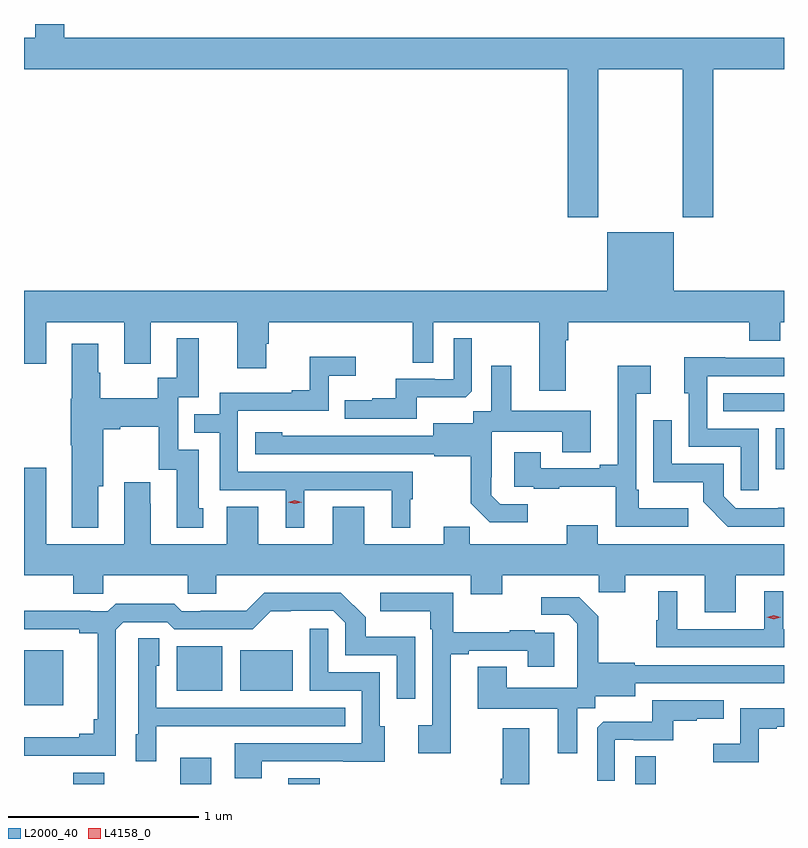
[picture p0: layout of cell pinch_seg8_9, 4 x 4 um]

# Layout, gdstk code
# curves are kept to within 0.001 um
import gdstk
lib = gdstk.Library(unit=1e-6, precision=1e-09)
def R(c, l, rs):  # rectangles x0, y0, x1, y1
    for r in rs: c.add(gdstk.rectangle(r[:2], r[2:], *l))
def P(c, l, *ps):  # polygons
    for p in ps: c.add(gdstk.Polygon(p, *l))
L2000_40 = (2000, 40)
L4158_0 = (4158, 0)

pinch_seg8_9 = lib.new_cell('pinch_seg8_9')
R(pinch_seg8_9, L2000_40, [(1117.373,1131.385,1117.537,1131.445), (1117.937,1131.385,1118.101,1131.523), (1118.507,1131.385,1118.671,1131.415), (1120.332,1131.385,1120.441,1131.53), (1117.115,1131.8,1117.321,1132.09), (1117.919,1131.875,1118.158,1132.111), (1118.252,1131.875,1118.53,1132.09), (1121.072,1133.042,1121.115,1133.257), (1120.795,1133.346,1121.115,1133.442)])
P(pinch_seg8_9, L2000_40, [(1120.137,1135.148),(1120.582,1135.148),(1120.582,1134.369),(1120.742,1134.369),(1120.742,1135.148),(1121.115,1135.148),(1121.115,1135.312),(1117.328,1135.312),(1117.328,1135.385),(1117.175,1135.385),(1117.175,1135.312),(1117.115,1135.312),(1117.115,1135.148),(1119.977,1135.148),(1119.977,1134.369),(1120.137,1134.369)],
  [(1117.115,1133.598),(1117.231,1133.598),(1117.231,1133.816),(1117.643,1133.816),(1117.643,1133.598),(1117.783,1133.598),(1117.783,1133.816),(1118.237,1133.816),(1118.237,1133.574),(1118.389,1133.574),(1118.389,1133.703),(1118.402,1133.703),(1118.402,1133.816),(1119.162,1133.816),(1119.162,1133.602),(1119.27,1133.602),(1119.27,1133.816),(1119.827,1133.816),(1119.827,1133.454),(1119.967,1133.454),(1119.967,1133.72),(1119.98,1133.72),(1119.98,1133.816),(1120.931,1133.816),(1120.931,1133.717),(1121.095,1133.717),(1121.095,1133.816),(1121.115,1133.816),(1121.115,1133.98),(1120.534,1133.98),(1120.534,1134.289),(1120.184,1134.289),(1120.184,1133.98),(1117.115,1133.98)],
  [(1119.181,1133.42),(1119.439,1133.42),(1119.471,1133.451),(1119.471,1133.731),(1119.378,1133.731),(1119.378,1133.514),(1119.278,1133.514),(1119.278,1133.517),(1119.071,1133.517),(1119.071,1133.416),(1118.947,1133.416),(1118.947,1133.404),(1118.803,1133.404),(1118.803,1133.307),(1119.181,1133.307)],
  [(1117.507,1132.953),(1117.533,1132.953),(1117.533,1133.252),(1117.621,1133.252),(1117.621,1133.264),(1117.823,1133.264),(1117.823,1133.04),(1117.919,1133.04),(1117.919,1132.734),(1118.059,1132.734),(1118.059,1132.836),(1118.035,1132.836),(1118.035,1133.145),(1117.926,1133.145),(1117.926,1133.421),(1118.035,1133.421),(1118.035,1133.731),(1117.919,1133.731),(1117.919,1133.522),(1117.818,1133.522),(1117.818,1133.416),(1117.515,1133.416),(1117.515,1133.55),(1117.507,1133.55),(1117.507,1133.701),(1117.367,1133.701),(1117.367,1133.412),(1117.36,1133.412),(1117.36,1133.168),(1117.367,1133.168),(1117.367,1132.733),(1117.507,1132.733)],
  [(1118.59,1132.932),(1119.05,1132.932),(1119.05,1132.733),(1119.148,1132.733),(1119.148,1132.884),(1119.16,1132.884),(1119.16,1133.028),(1118.241,1133.028),(1118.241,1133.349),(1118.718,1133.349),(1118.718,1133.534),(1118.86,1133.534),(1118.86,1133.633),(1118.62,1133.633),(1118.62,1133.458),(1118.525,1133.458),(1118.525,1133.445),(1118.145,1133.445),(1118.145,1133.331),(1118.011,1133.331),(1118.011,1133.235),(1118.145,1133.235),(1118.145,1132.932),(1118.492,1132.932),(1118.492,1132.733),(1118.59,1132.733)],
  [(1120.983,1133.256),(1120.71,1133.256),(1120.71,1133.532),(1121.115,1133.532),(1121.115,1133.628),(1120.807,1133.628),(1120.807,1133.63),(1120.589,1133.63),(1120.589,1133.442),(1120.614,1133.442),(1120.614,1133.16),(1120.887,1133.16),(1120.887,1132.932),(1120.983,1132.932)],
  [(1119.766,1132.857),(1119.621,1132.857),(1119.574,1132.904),(1119.574,1132.999),(1119.576,1132.999),(1119.576,1133.24),(1119.947,1133.24),(1119.947,1133.131),(1120.099,1133.131),(1120.099,1133.35),(1119.679,1133.35),(1119.679,1133.587),(1119.575,1133.587),(1119.575,1133.348),(1119.48,1133.348),(1119.48,1133.284),(1119.269,1133.284),(1119.269,1133.217),(1118.475,1133.218),(1118.475,1133.236),(1118.331,1133.236),(1118.331,1133.121),(1119.273,1133.121),(1119.273,1133.109),(1119.465,1133.109),(1119.465,1132.863),(1119.565,1132.763),(1119.766,1132.763)],
  [(1120.612,1132.837),(1120.351,1132.837),(1120.351,1132.933),(1120.338,1132.933),(1120.338,1133.438),(1120.414,1133.438),(1120.414,1133.587),(1120.241,1133.587),(1120.241,1133.065),(1120.145,1133.065),(1120.145,1133.046),(1119.835,1133.046),(1119.835,1133.131),(1119.695,1133.131),(1119.695,1132.95),(1119.799,1132.95),(1119.799,1132.938),(1119.931,1132.938),(1119.931,1132.949),(1120.23,1132.949),(1120.23,1132.74),(1120.612,1132.74)],
  [(1121.115,1132.838),(1121.084,1132.838),(1121.084,1132.836),(1120.86,1132.836),(1120.797,1132.899),(1120.797,1133.07),(1120.524,1133.07),(1120.524,1133.299),(1120.428,1133.299),(1120.428,1132.973),(1120.69,1132.973),(1120.69,1132.871),(1120.82,1132.74),(1121.115,1132.74)],
  [(1117.783,1132.859),(1117.78,1132.859),(1117.78,1132.972),(1117.643,1132.972),(1117.643,1132.648),(1117.231,1132.648),(1117.231,1133.05),(1117.115,1133.05),(1117.115,1132.484),(1117.373,1132.484),(1117.373,1132.386),(1117.533,1132.386),(1117.533,1132.484),(1117.978,1132.484),(1117.978,1132.386),(1118.128,1132.386),(1118.128,1132.484),(1119.467,1132.484),(1119.467,1132.385),(1119.631,1132.385),(1119.631,1132.484),(1120.141,1132.484),(1120.141,1132.394),(1120.279,1132.394),(1120.279,1132.484),(1120.697,1132.484),(1120.697,1132.29),(1120.861,1132.29),(1120.861,1132.484),(1121.115,1132.484),(1121.115,1132.648),(1120.135,1132.648),(1120.135,1132.747),(1119.971,1132.747),(1119.971,1132.648),(1119.461,1132.648),(1119.461,1132.739),(1119.323,1132.739),(1119.323,1132.648),(1118.905,1132.648),(1118.905,1132.843),(1118.741,1132.843),(1118.741,1132.648),(1118.347,1132.648),(1118.347,1132.843),(1118.183,1132.843),(1118.183,1132.648),(1117.783,1132.648)],
  [(1121.115,1132.2),(1121.11,1132.2),(1121.11,1132.399),(1121.012,1132.399),(1121.012,1132.2),(1120.552,1132.2),(1120.552,1132.399),(1120.454,1132.399),(1120.454,1132.248),(1120.443,1132.248),(1120.443,1132.104),(1121.115,1132.104)],
  [(1117.599,1132.197),(1117.638,1132.236),(1117.869,1132.236),(1117.905,1132.2),(1118.319,1132.2),(1118.414,1132.295),(1118.742,1132.296),(1118.805,1132.233),(1118.805,1132.062),(1119.078,1132.062),(1119.078,1131.834),(1119.174,1131.834),(1119.174,1132.159),(1118.913,1132.159),(1118.913,1132.262),(1118.782,1132.392),(1118.379,1132.392),(1118.285,1132.298),(1118.044,1132.298),(1118.044,1132.293),(1117.944,1132.293),(1117.905,1132.333),(1117.597,1132.333),(1117.557,1132.293),(1117.463,1132.293),(1117.463,1132.298),(1117.115,1132.298),(1117.115,1132.2),(1117.406,1132.2),(1117.406,1132.178),(1117.502,1132.178),(1117.502,1131.727),(1117.483,1131.727),(1117.483,1131.65),(1117.406,1131.65),(1117.406,1131.631),(1117.115,1131.631),(1117.115,1131.534),(1117.599,1131.534)],
  [(1119.361,1132.068),(1119.457,1132.068),(1119.457,1132.086),(1119.767,1132.086),(1119.767,1132.002),(1119.907,1132.002),(1119.907,1132.182),(1119.803,1132.182),(1119.803,1132.195),(1119.671,1132.195),(1119.671,1132.184),(1119.373,1132.184),(1119.373,1132.392),(1118.991,1132.392),(1118.991,1132.295),(1119.252,1132.295),(1119.252,1132.199),(1119.264,1132.199),(1119.264,1131.694),(1119.189,1131.694),(1119.189,1131.546),(1119.361,1131.546)],
  [(1120.027,1131.784),(1120.122,1131.784),(1120.122,1131.848),(1120.333,1131.848),(1120.333,1131.915),(1121.115,1131.914),(1121.115,1132.011),(1120.329,1132.011),(1120.329,1132.024),(1120.137,1132.024),(1120.137,1132.269),(1120.037,1132.369),(1119.837,1132.369),(1119.837,1132.275),(1119.981,1132.275),(1120.028,1132.228),(1120.028,1132.133),(1120.026,1132.133),(1120.026,1131.892),(1119.655,1131.892),(1119.655,1132.001),(1119.503,1132.001),(1119.503,1131.782),(1119.923,1131.782),(1119.923,1131.546),(1120.027,1131.546)],
  [(1118.365,1131.504),(1118.795,1131.504),(1118.795,1131.503),(1119.013,1131.503),(1119.013,1131.69),(1118.988,1131.69),(1118.988,1131.972),(1118.715,1131.972),(1118.715,1132.201),(1118.619,1132.201),(1118.619,1131.876),(1118.892,1131.876),(1118.892,1131.6),(1118.225,1131.6),(1118.225,1131.414),(1118.365,1131.414)],
  [(1117.812,1131.689),(1118.129,1131.689),(1118.129,1131.69),(1118.807,1131.69),(1118.807,1131.786),(1117.812,1131.786),(1117.812,1132.008),(1117.828,1132.008),(1117.828,1132.151),(1117.716,1132.151),(1117.716,1131.648),(1117.703,1131.648),(1117.703,1131.504),(1117.812,1131.504)],
  [(1120.224,1131.618),(1120.324,1131.618),(1120.324,1131.615),(1120.532,1131.615),(1120.532,1131.717),(1120.655,1131.717),(1120.655,1131.728),(1120.799,1131.728),(1120.799,1131.825),(1120.422,1131.825),(1120.422,1131.713),(1120.163,1131.713),(1120.131,1131.681),(1120.131,1131.401),(1120.224,1131.401)],
  [(1120.983,1131.675),(1121.077,1131.675),(1121.077,1131.687),(1121.115,1131.687),(1121.115,1131.783),(1120.884,1131.783),(1120.884,1131.598),(1120.743,1131.598),(1120.743,1131.5),(1120.983,1131.5)],
  [(1119.775,1131.679),(1119.635,1131.679),(1119.635,1131.412),(1119.623,1131.412),(1119.623,1131.385),(1119.775,1131.385)])
P(pinch_seg8_9, L4158_0, [(1121.061,1132.252),(1121.025,1132.262),(1121.025,1132.262),(1121.025,1132.262),(1121.061,1132.272),(1121.097,1132.263),(1121.097,1132.263),(1121.097,1132.263)],
  [(1118.541,1132.859),(1118.505,1132.869),(1118.505,1132.869),(1118.505,1132.869),(1118.541,1132.879),(1118.577,1132.869),(1118.577,1132.869),(1118.577,1132.869)])

lib.write_gds('pinch_seg8_9.gds')
